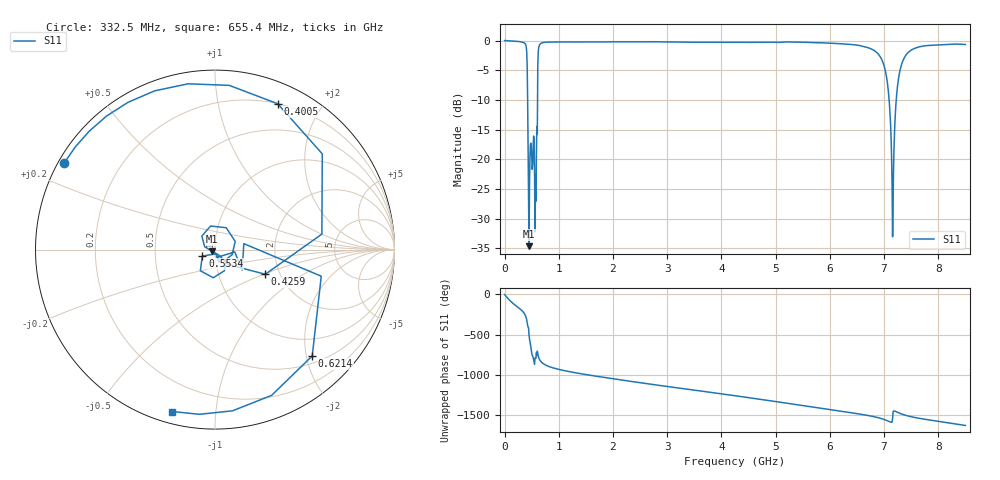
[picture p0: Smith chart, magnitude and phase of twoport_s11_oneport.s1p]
!Created with skrf (http://scikit-rf.org).
# Hz S RI R 50.0
!freq ReS11 ImS11
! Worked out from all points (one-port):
!   1001 points, 1 MHz to 8.5 GHz, reference 50 ohm
!   lowest |S11| = -34.6 dB at 451.4 MHz (marker M1), VSWR 1.04, Z = 48.4 - j0.931 ohm
!   |S11| at or under -10 dB: 425.8 MHz to 608.7 MHz (182.9 MHz wide, 35.4 % of centre); 7.093 GHz to 7.224 GHz (130.9 MHz wide, 1.83 % of centre)
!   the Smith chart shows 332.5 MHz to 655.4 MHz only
!   S11 on the Smith chart (normalised r, x): 332.5 MHz: 0.02, +0.27; 400.5 MHz: 0.20, +1.50; 425.9 MHz: 1.68, -0.51; 553.4 MHz: 0.87, -0.06; 621.4 MHz: 0.63, -2.11; 655.4 MHz: 0.05, -0.77
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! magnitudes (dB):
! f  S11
! 1 MHz  0.0
! 332.5 MHz  -0.3
! 375 MHz  -0.5
! 400.5 MHz  -1.1
! 425.9 MHz  -10.1
! 451.4 MHz  -34.6
! 476.9 MHz  -17.5
! 510.9 MHz  -21.7
! 536.4 MHz  -16.1
! 553.4 MHz  -22.0
! 595.9 MHz  -14.5
! 621.4 MHz  -1.9
! 655.4 MHz  -0.6
! 1.063 GHz  -0.2
! 2.126 GHz  -0.2
! 3.188 GHz  -0.3
! 4.25 GHz  -0.3
! 5.313 GHz  -0.3
! 6.375 GHz  -0.7
! 6.979 GHz  -3.7
! 7.072 GHz  -7.9
! 7.132 GHz  -17.1
! 7.157 GHz  -33.0
! 7.191 GHz  -15.7
! 7.225 GHz  -9.9
! 7.268 GHz  -6.3
! 7.438 GHz  -2.1
! 8.5 GHz  -0.7
